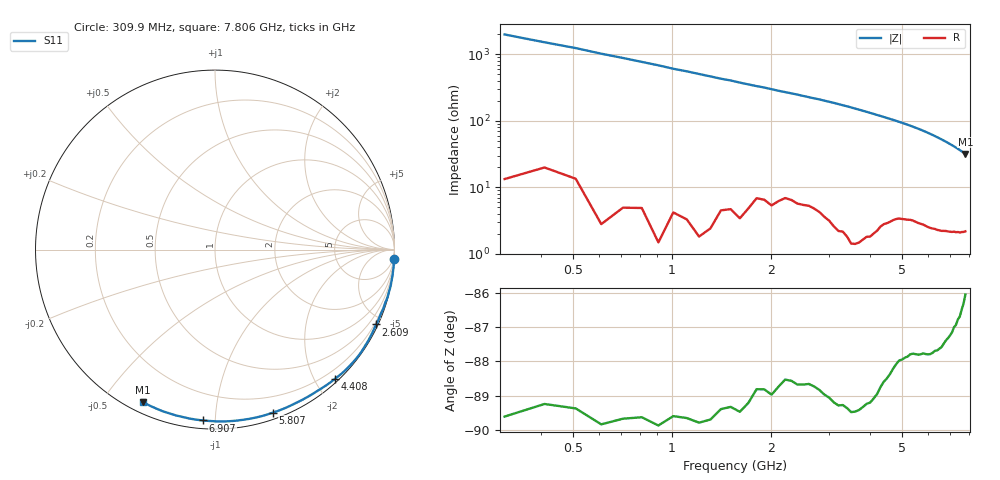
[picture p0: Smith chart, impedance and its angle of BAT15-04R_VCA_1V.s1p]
! Infineon Technologies  Discrete & RF Semiconductors
! BAT15-04R
! VCA = 1 V
! One-Port S-Parameters
# Hz  S  MA  R  50
!f  S11
!Hz  Mag  Ang
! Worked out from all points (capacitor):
!   76 points, 309.9 MHz to 7.806 GHz, reference 50 ohm
!   read as one part to ground: C = 257 fF near 309.9 MHz
!   lowest |Z| = 31.7 ohm at 7.806 GHz (marker M1)
!   S11 on the Smith chart (normalised r, x): 309.9 MHz: 0, -40; 2.609 GHz: 0.11, -4.52; 4.408 GHz: 0.06, -2.28; 5.807 GHz: 0.06, -1.42; 6.907 GHz: 0.04, -0.93; 7.806 GHz: 0.04, -0.63
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3.0985e8  0.9997 -2.9
9.0955e8  0.9997 -8.4
1.30935e9  0.9989 -12.3
1.6092e9  0.9976 -15.2
2.009e9  0.9942 -19.0
2.2089e9  0.9909 -21.0
2.6087e9  0.9902 -24.9
2.8086e9  0.9909 -26.8
3.2084e9  0.9936 -31.3
3.50825e9  0.9949 -35.0
3.70815e9  0.9939 -37.6
4.10795e9  0.9891 -43.0
4.4078e9  0.9821 -47.3
4.70765e9  0.9758 -51.7
5.0075e9  0.9706 -56.3
5.2074e9  0.9683 -59.6
5.50725e9  0.9656 -64.8
5.8071e9  0.9639 -70.4
6.007e9  0.9636 -74.3
6.2069e9  0.9622 -78.4
6.50675e9  0.9596 -85.0
6.70665e9  0.957 -89.4
6.90655e9  0.9544 -94.0
7.10645e9  0.952 -98.5
7.30635e9  0.9491 -103.3
7.50625e9  0.9465 -108.1
7.70615e9  0.9422 -112.9
7.8061e9  0.9394 -115.4
